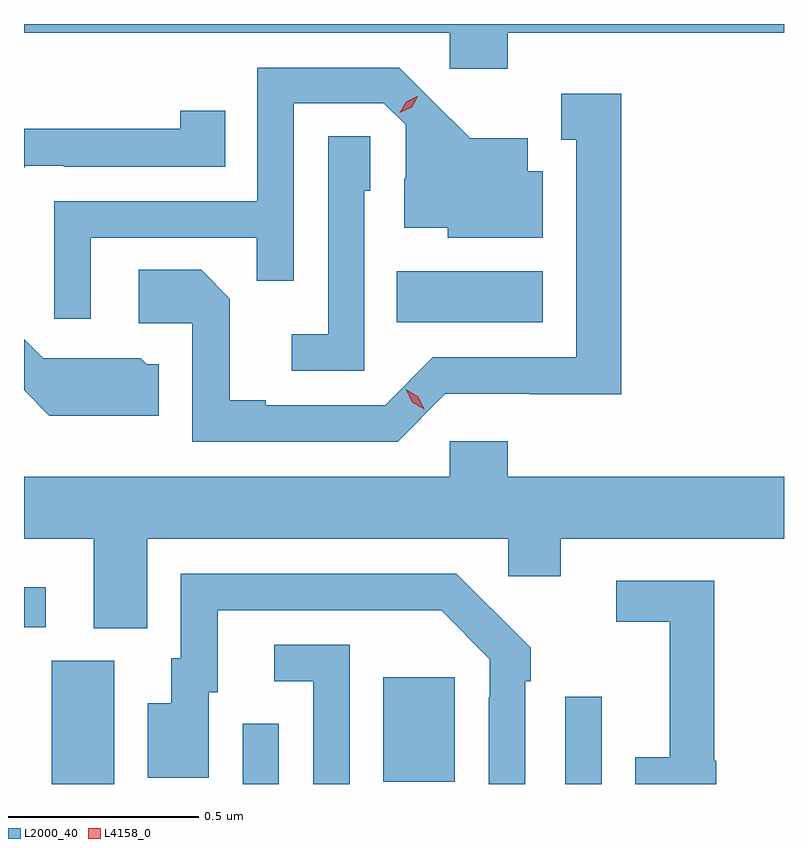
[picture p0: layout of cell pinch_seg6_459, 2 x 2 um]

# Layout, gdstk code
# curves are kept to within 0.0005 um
import gdstk
lib = gdstk.Library(unit=1e-6, precision=1e-09)
def R(c, l, rs):  # rectangles x0, y0, x1, y1
    for r in rs: c.add(gdstk.rectangle(r[:2], r[2:], *l))
def P(c, l, *ps):  # polygons
    for p in ps: c.add(gdstk.Polygon(p, *l))
L2000_40 = (2000, 40)
L4158_0 = (4158, 0)

pinch_seg6_459 = lib.new_cell('pinch_seg6_459')
R(pinch_seg6_459, L2000_40, [(732.086,917.387,732.25,917.712), (732.588,917.387,732.684,917.545), (733.437,917.387,733.533,917.617), (732.959,917.393,733.147,917.668), (732.013,917.799,732.07,917.905), (732.994,918.602,733.378,918.736)])
P(pinch_seg6_459, L2000_40, [(733.286,919.364),(734.013,919.364),(734.013,919.387),(732.013,919.387),(732.013,919.364),(733.134,919.364),(733.134,919.269),(733.286,919.269)],
  [(732.189,918.825),(732.625,918.825),(732.625,918.712),(732.723,918.712),(732.723,919.179),(732.96,919.179),(733.017,919.122),(733.017,918.98),(733.013,918.98),(733.013,918.851),(733.128,918.851),(733.128,918.824),(733.378,918.824),(733.378,919),(733.339,919),(733.339,919.087),(733.187,919.087),(733,919.272),(732.627,919.272),(732.627,918.921),(732.093,918.921),(732.093,918.612),(732.189,918.612)],
  [(733.122,918.414),(733.344,918.414),(733.344,918.413),(733.585,918.413),(733.585,919.204),(733.427,919.204),(733.427,919.083),(733.466,919.083),(733.466,918.51),(733.089,918.51),(732.963,918.384),(732.649,918.384),(732.649,918.397),(732.555,918.397),(732.555,918.664),(732.479,918.74),(732.315,918.74),(732.315,918.6),(732.456,918.6),(732.456,918.288),(732.996,918.288)],
  [(732.018,919.014),(732.118,919.014),(732.118,919.011),(732.542,919.011),(732.542,919.159),(732.424,919.159),(732.424,919.112),(732.067,919.112),(732.067,919.111),(732.013,919.111),(732.013,919.009)],
  [(732.909,918.948),(732.924,918.948),(732.924,919.091),(732.813,919.091),(732.813,918.571),(732.717,918.571),(732.717,918.474),(732.909,918.474)],
  [(732.367,918.492),(732.336,918.492),(732.32,918.508),(732.186,918.508),(732.186,918.507),(732.063,918.507),(732.013,918.557),(732.013,918.423),(732.079,918.356),(732.367,918.356)],
  [(732.337,918.032),(733.287,918.032),(733.287,917.934),(733.426,917.934),(733.426,918.032),(734.013,918.032),(734.013,918.196),(733.286,918.196),(733.286,918.289),(733.134,918.289),(733.134,918.196),(732.013,918.196),(732.013,918.032),(732.197,918.032),(732.197,917.797),(732.337,917.797)],
  [(733.332,917.657),(733.347,917.657),(733.347,917.745),(733.242,917.85),(733.241,917.849),(733.15,917.94),(732.426,917.94),(732.426,917.718),(732.401,917.718),(732.401,917.599),(732.338,917.599),(732.338,917.403),(732.499,917.403),(732.499,917.628),(732.523,917.628),(732.523,917.844),(733.111,917.844),(733.239,917.715),(733.239,917.615),(733.236,917.615),(733.236,917.387),(733.332,917.387)],
  [(733.835,917.448),(733.829,917.448),(733.829,917.922),(733.572,917.922),(733.572,917.814),(733.712,917.814),(733.712,917.458),(733.622,917.458),(733.622,917.387),(733.835,917.387)],
  [(732.87,917.754),(732.672,917.754),(732.672,917.658),(732.774,917.658),(732.774,917.387),(732.87,917.387)])
P(pinch_seg6_459, L4158_0, [(733.066,918.373),(733.035,918.392),(733.018,918.426),(733.018,918.426),(733.018,918.426),(733.05,918.406),(733.066,918.373),(733.066,918.373)],
  [(733.002,919.154),(733.002,919.154),(733.019,919.183),(733.05,919.198),(733.051,919.198),(733.051,919.198),(733.033,919.168),(733.002,919.154)])

lib.write_gds('pinch_seg6_459.gds')
